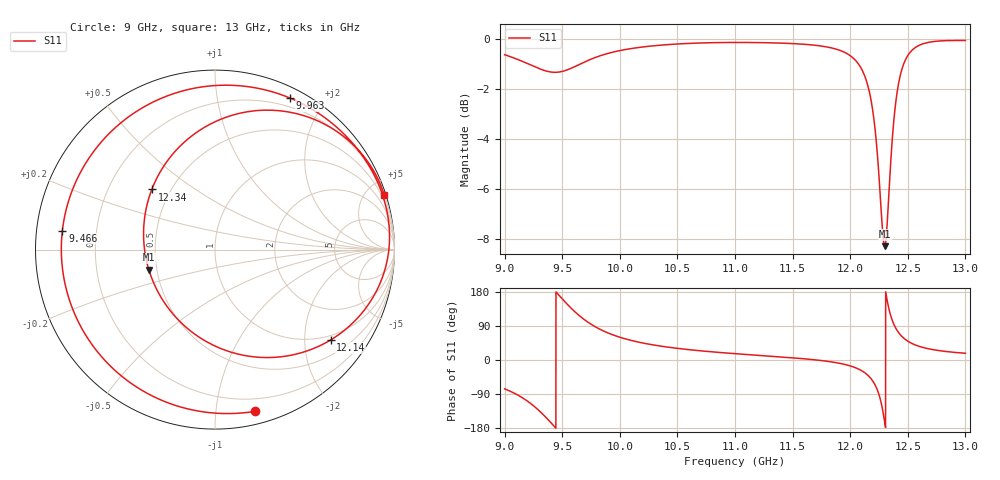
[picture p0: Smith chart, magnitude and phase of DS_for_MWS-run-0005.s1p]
! TOUCHSTONE file generated by CST DESIGN STUDIO
! Date and time: Tue Feb  4 17:47:18 2025
! Project name: C:\Work\MatlabApps\UnitCellOptimizationMatlab\CST\unitcell.cst
! Tree item: Tasks\Sweep1\SPara1\S-Parameters
! Header version: 2024
! Port assignment regex: !\s*Touchstone port\s*([0-9]+)\s*=\s*(CST MWS port|CST DES external port|CST DES block port)\s*(.+)\s* \(\"(.*)\"\)(\s*mode\s*([0-9]+))?.*
! Touchstone port assignment:
! Touchstone port 1 = CST DES external port 1 ("")
# GHz S MA R 50
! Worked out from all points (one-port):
!   4001 points, 9 GHz to 13 GHz, reference 50 ohm
!   lowest |S11| = -8.3 dB at 12.3 GHz (marker M1), VSWR 2.25, Z = 22.6 - j5.9 ohm
!   |S11| at or under -10 dB: nowhere
!   S11 on the Smith chart (normalised r, x): 9 GHz: 0.10, -1.27; 9.466 GHz: 0.08, +0.06; 9.963 GHz: 0.11, +1.60; 12.14 GHz: 0.87, -2.65; 12.34 GHz: 0.39, +0.35; 13 GHz: 0.19, +6.38
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9  0.9284 -76.2
9.145  0.9022 -97.9
9.252  0.8804 -121.0
9.374  0.8598 -156.3
9.466  0.8569 172.9
9.5  0.8597 161.4
9.596  0.8761 131.3
9.691  0.8971 106.8
9.826  0.9233 81.3
9.963  0.9421 63.8
10  0.946 60.1
10.214  0.9629 44.0
10.5  0.9752 30.7
11  0.9821 16.7
11.5  0.977 5.8
12  0.9243 -15.6
12.145  0.8176 -38.0
12.192  0.7278 -53.8
12.237  0.5837 -80.0
12.267  0.4611 -110.6
12.299  0.3852 -163.2
12.335  0.486 136.4
12.366  0.633 104.0
12.399  0.7572 82.3
12.447  0.8653 62.7
12.5  0.9249 49.6
12.668  0.9811 30.4
13  0.9911 17.8
